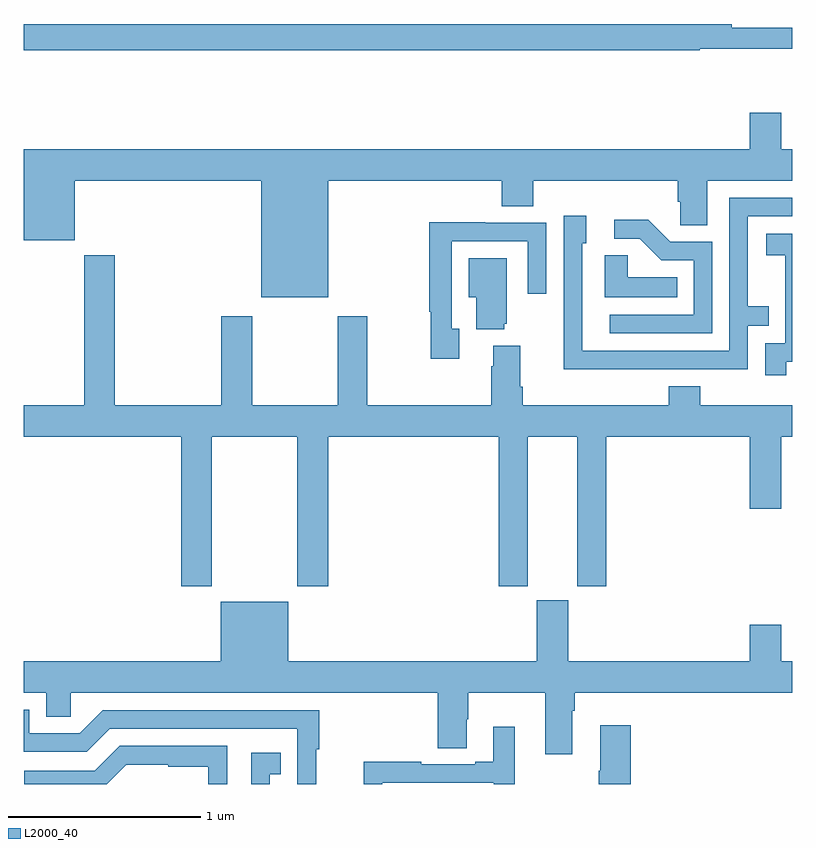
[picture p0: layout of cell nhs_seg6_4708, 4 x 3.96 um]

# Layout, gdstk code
import gdstk
lib = gdstk.Library(unit=1e-6, precision=1e-09)
def P(c, l, *ps):  # polygons
    for p in ps: c.add(gdstk.Polygon(p, *l))
L2000_40 = (2000, 40)

nhs_seg6_4708 = lib.new_cell('nhs_seg6_4708')
P(nhs_seg6_4708, L2000_40, [(392.518,977.328),(393,977.328),(393,977.437),(392.684,977.437),(392.684,977.456),(389,977.456),(389,977.32),(392.518,977.32)],
  [(390.586,976.64),(391.487,976.64),(391.487,976.507),(391.652,976.507),(391.652,976.64),(392.405,976.64),(392.405,976.531),(392.418,976.531),(392.418,976.408),(392.557,976.408),(392.557,976.64),(393,976.64),(393,976.804),(392.944,976.804),(392.944,976.993),(392.78,976.993),(392.78,976.804),(389,976.804),(389,976.331),(389.266,976.331),(389.266,976.64),(390.236,976.64),(390.236,976.034),(390.586,976.034)],
  [(392.273,975.66),(392.769,975.66),(392.769,975.885),(392.879,975.885),(392.879,975.986),(392.769,975.986),(392.769,976.455),(393,976.455),(393,976.551),(392.673,976.551),(392.673,975.756),(391.908,975.756),(391.908,976.314),(391.927,976.314),(391.927,976.459),(391.812,976.459),(391.812,975.965),(391.81,975.965),(391.81,975.659),(392.273,975.659)],
  [(392.583,976.323),(392.364,976.323),(392.251,976.436),(392.073,976.436),(392.073,976.338),(392.207,976.338),(392.318,976.227),(392.487,976.227),(392.487,975.942),(392.049,975.942),(392.049,975.846),(392.583,975.846)],
  [(391.267,975.87),(391.227,975.87),(391.227,976.326),(391.623,976.326),(391.623,976.053),(391.719,976.053),(391.719,976.422),(391.403,976.422),(391.403,976.424),(391.111,976.424),(391.111,975.958),(391.119,975.958),(391.119,975.714),(391.267,975.714)],
  [(392.968,975.697),(393,975.697),(393,976.363),(392.865,976.363),(392.865,976.253),(392.963,976.253),(392.963,976.025),(392.964,976.025),(392.964,975.795),(392.859,975.795),(392.859,975.627),(392.968,975.627)],
  [(392.402,976.138),(392.145,976.138),(392.145,976.253),(392.024,976.253),(392.024,976.034),(392.402,976.034)],
  [(389.979,975.308),(390.424,975.308),(390.424,974.529),(390.584,974.529),(390.584,975.308),(391.472,975.308),(391.472,974.529),(391.624,974.529),(391.624,975.308),(391.88,975.308),(391.88,974.529),(392.033,974.529),(392.033,975.308),(392.78,975.308),(392.78,974.934),(392.944,974.934),(392.944,975.308),(393,975.308),(393,975.472),(392.522,975.472),(392.522,975.571),(392.357,975.571),(392.357,975.472),(391.598,975.472),(391.598,975.568),(391.585,975.568),(391.585,975.781),(391.445,975.781),(391.445,975.674),(391.433,975.674),(391.433,975.472),(390.789,975.472),(390.789,975.934),(390.634,975.934),(390.634,975.472),(390.189,975.472),(390.189,975.934),(390.029,975.934),(390.029,975.472),(389.474,975.472),(389.474,976.252),(389.314,976.252),(389.314,975.472),(389,975.472),(389,975.308),(389.819,975.308),(389.819,974.529),(389.979,974.529)],
  [(391.502,975.897),(391.513,975.897),(391.513,976.237),(391.316,976.237),(391.316,976.034),(391.355,976.034),(391.355,975.866),(391.502,975.866)],
  [(391.855,973.88),(391.868,973.88),(391.868,973.976),(393,973.976),(393,974.14),(392.944,974.14),(392.944,974.329),(392.78,974.329),(392.78,974.14),(391.834,974.14),(391.834,974.457),(391.67,974.457),(391.67,974.14),(390.376,974.14),(390.376,974.449),(390.026,974.449),(390.026,974.14),(389,974.14),(389,973.976),(389.117,973.976),(389.117,973.849),(389.244,973.849),(389.244,973.976),(391.154,973.976),(391.154,973.687),(391.306,973.687),(391.306,973.838),(391.314,973.838),(391.314,973.976),(391.715,973.976),(391.715,973.656),(391.855,973.656)],
  [(390.522,973.681),(390.539,973.681),(390.539,973.884),(389.412,973.884),(389.292,973.764),(389.028,973.764),(389.028,973.887),(389,973.887),(389,973.668),(389.328,973.668),(389.448,973.788),(390.423,973.788),(390.423,973.5),(390.522,973.5)],
  [(392.159,973.807),(392,973.807),(392,973.568),(391.993,973.568),(391.993,973.5),(392.159,973.5)],
  [(390.867,973.506),(391.446,973.506),(391.446,973.5),(391.555,973.5),(391.555,973.798),(391.445,973.798),(391.445,973.615),(391.349,973.615),(391.349,973.602),(391.07,973.602),(391.07,973.615),(390.769,973.615),(390.769,973.5),(390.867,973.5)],
  [(389.534,973.601),(389.753,973.601),(389.753,973.59),(389.959,973.59),(389.959,973.5),(390.06,973.5),(390.06,973.698),(389.499,973.698),(389.37,973.569),(389.003,973.569),(389.003,973.5),(389.433,973.5)],
  [(390.28,973.55),(390.338,973.55),(390.338,973.663),(390.183,973.663),(390.183,973.5),(390.28,973.5)])

lib.write_gds('nhs_seg6_4708.gds')
